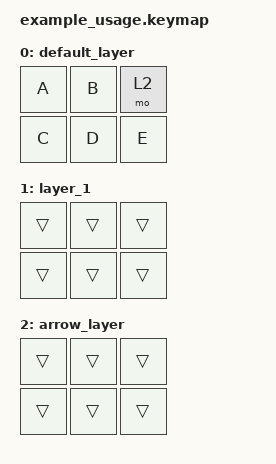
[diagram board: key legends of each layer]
#include <behaviors.dtsi>
#include <dt-bindings/zmk/keys.h>
#include <dt-bindings/zmk/input-event-codes.h>

/ {
    /* input config for arrow keys mode on layer 2 */
    trackball_arrow_listener {
        compatible = "zmk,input-behavior-listener";
        device = <&vtrackball>;
        layers = <2>; // Працює тільки на шарі 2
        evt-type = <INPUT_EV_REL>;
        x-input-code = <INPUT_REL_X>;
        y-input-code = <INPUT_REL_Y>;
        scale-divisor = <1>; // Без масштабування
        bindings = <&ib_move_to_arrow>; // Використовуємо наш новий behavior
    };

    /* Визначаємо behavior з кастомними параметрами */
    ib_move_to_arrow: ib_move_to_arrow {
        compatible = "zmk,input-behavior-move-to-keypress";
        #binding-cells = <0>;
        threshold = <300>; // Поріг чутливості - 300 пікселів
        rate-limit-ms = <50>; // Мінімум 50мс між подіями (20 подій/сек)
        // x-invert; // Розкоментувати для інверсії X
        // y-invert; // Розкоментувати для інверсії Y
        bindings = <&kp RIGHT>, <&kp LEFT>, <&kp UP>, <&kp DOWN>;
    };

    /* Альтернативний приклад з іншими клавішами */
    ib_move_to_wasd: ib_move_to_wasd {
        compatible = "zmk,input-behavior-move-to-keypress";
        #binding-cells = <0>;
        threshold = <500>; // Менша чутливість
        rate-limit-ms = <75>; // Повільніше для WASD
        bindings = <&kp D>, <&kp A>, <&kp W>, <&kp S>; // WASD замість стрілок
    };

    keymap {
        compatible = "zmk,keymap";
        
        default_layer {
            bindings = <
                &kp A    &kp B    &mo 2    // Тримати для переходу на шар 2
                &kp C    &kp D    &kp E
            >;
        };
        
        layer_1 {
            bindings = <
                &trans   &trans   &trans
                &trans   &trans   &trans
            >;
        };
        
        arrow_layer { // Шар 2 - arrow navigation
            bindings = <
                &trans   &trans   &trans
                &trans   &trans   &trans
            >;
        };
    };
}; 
